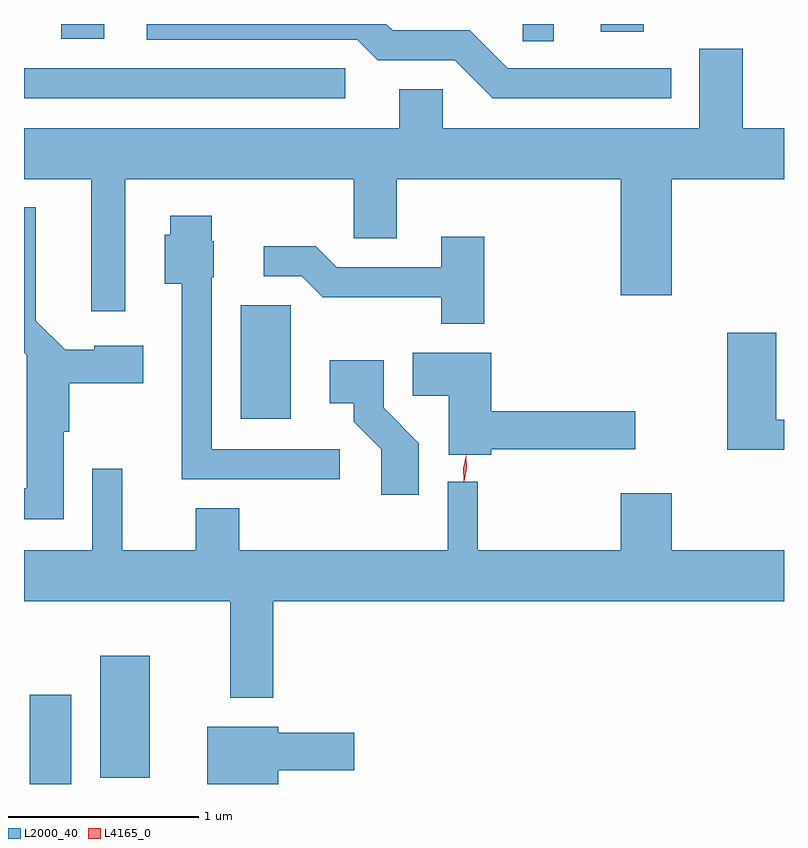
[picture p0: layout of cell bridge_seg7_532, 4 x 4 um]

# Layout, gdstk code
import gdstk
lib = gdstk.Library(unit=1e-6, precision=1e-09)
def R(c, l, rs):  # rectangles x0, y0, x1, y1
    for r in rs: c.add(gdstk.rectangle(r[:2], r[2:], *l))
def P(c, l, *ps):  # polygons
    for p in ps: c.add(gdstk.Polygon(p, *l))
L2000_40 = (2000, 40)
L4165_0 = (4165, 0)

bridge_seg7_532 = lib.new_cell('bridge_seg7_532')
R(bridge_seg7_532, L2000_40, [(891.286,1799.933,891.504,1800.404), (891.656,1799.966,891.919,1800.609), (892.396,1801.856,892.659,1802.454), (891.256,1803.541,892.948,1803.699), (893.881,1803.843,894.044,1803.933), (891.451,1803.856,891.679,1803.933), (894.291,1803.891,894.519,1803.933)])
P(bridge_seg7_532, L2000_40, [(894.663,1803.699),(893.802,1803.699),(893.602,1803.899),(893.197,1803.899),(893.163,1803.933),(891.903,1803.933),(891.903,1803.851),(893.009,1803.851),(893.119,1803.741),(893.524,1803.741),(893.724,1803.541),(894.663,1803.541)],
  [(891.789,1803.116),(892.991,1803.116),(892.991,1802.806),(893.219,1802.806),(893.219,1803.116),(894.396,1803.116),(894.396,1802.506),(894.664,1802.506),(894.664,1803.116),(895.256,1803.116),(895.256,1803.384),(895.039,1803.384),(895.039,1803.804),(894.811,1803.804),(894.811,1803.384),(893.459,1803.384),(893.459,1803.589),(893.231,1803.589),(893.231,1803.384),(891.256,1803.384),(891.256,1803.116),(891.611,1803.116),(891.611,1802.421),(891.789,1802.421)],
  [(891.464,1801.786),(891.494,1801.786),(891.494,1802.041),(891.884,1802.041),(891.884,1802.239),(891.626,1802.239),(891.626,1802.219),(891.472,1802.219),(891.319,1802.372),(891.319,1802.968),(891.256,1802.968),(891.256,1802.204),(891.271,1802.189),(891.271,1801.489),(891.256,1801.489),(891.256,1801.326),(891.464,1801.326)],
  [(892.918,1801.694),(892.244,1801.694),(892.244,1802.6),(892.254,1802.6),(892.254,1802.79),(892.244,1802.79),(892.244,1802.924),(892.026,1802.924),(892.026,1802.824),(891.996,1802.824),(891.996,1802.566),(892.086,1802.566),(892.086,1801.536),(892.918,1801.536)],
  [(893.679,1802.814),(893.451,1802.814),(893.451,1802.654),(892.902,1802.654),(892.792,1802.764),(892.518,1802.764),(892.518,1802.606),(892.719,1802.606),(892.829,1802.496),(893.451,1802.496),(893.451,1802.356),(893.679,1802.356)],
  [(895.256,1801.849),(895.214,1801.849),(895.214,1802.309),(894.956,1802.309),(894.956,1801.691),(895.256,1801.691)],
  [(893.714,1801.696),(894.474,1801.696),(894.474,1801.894),(893.714,1801.894),(893.714,1802.204),(893.301,1802.204),(893.301,1801.976),(893.491,1801.976),(893.491,1801.666),(893.714,1801.666)],
  [(893.334,1801.727),(893.149,1801.912),(893.149,1802.164),(892.866,1802.164),(892.866,1801.936),(892.991,1801.936),(892.991,1801.839),(893.136,1801.694),(893.136,1801.456),(893.334,1801.456)],
  [(892.569,1800.896),(895.256,1800.896),(895.256,1801.164),(894.664,1801.164),(894.664,1801.464),(894.396,1801.464),(894.396,1801.164),(893.644,1801.164),(893.644,1801.523),(893.486,1801.523),(893.486,1801.164),(892.389,1801.164),(892.389,1801.384),(892.161,1801.384),(892.161,1801.164),(891.774,1801.164),(891.774,1801.593),(891.616,1801.593),(891.616,1801.164),(891.256,1801.164),(891.256,1800.896),(892.341,1800.896),(892.341,1800.386),(892.569,1800.386)],
  [(892.594,1800.006),(892.994,1800.006),(892.994,1800.204),(892.594,1800.204),(892.594,1800.234),(892.221,1800.234),(892.221,1799.933),(892.594,1799.933)])
P(bridge_seg7_532, L4165_0, [(893.571,1801.525),(893.571,1801.526),(893.568,1801.595),(893.584,1801.663),(893.584,1801.664),(893.584,1801.663),(893.587,1801.593),(893.572,1801.526)])

lib.write_gds('bridge_seg7_532.gds')
